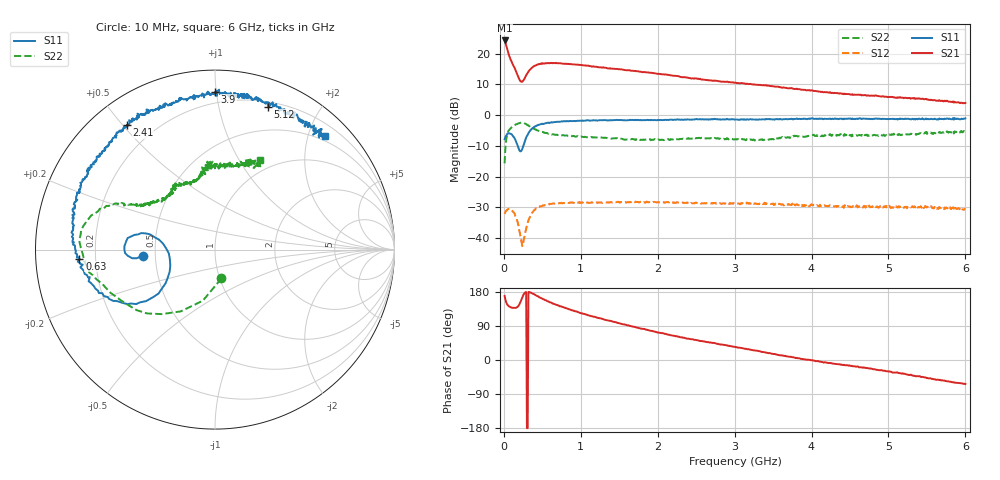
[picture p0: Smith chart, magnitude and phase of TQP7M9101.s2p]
! TriQuint Semiconductor
! TQP7M9101 Power Amplifier
! SOT-89 Package
! The data is for the unmatched device in a 50 Ohm system, 2-port file de-embedded to the device leads.
! Device bias: +5V V @ 85 mA Icq
! Temperature: 25C
! Date: 05/12/2011
! Lot Code: I321
!  Port 1 corresponds to Pin 1 on the TQP7M9101 (RF input)
!  Port 2 corresponds to Pin 3 on the TQP7M9101 (RF output)
! All data in ma (Magnitude/Angle) format
! freq-unit  param-type  data-format  keyword  impedance-ohms
# GHZ  S  MA  R  50
!Freq  S11Mag  S11Ang  S21Mag  S21Ang  S12Mag  S12Ang  S22Mag  S22Ang
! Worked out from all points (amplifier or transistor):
!   600 points, 10 MHz to 6 GHz, reference 50 ohm
!   highest |S21| = 24.3 dB at 10 MHz (marker M1)
!   |S21| within 3 dB of that: start of sweep to 45.3 MHz
!   unconditionally stable (mu >= 1): start of sweep to 1.089 GHz; 1.781 GHz to 2.5 GHz; 2.746 GHz to end of sweep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
!   at 1.01 GHz: K = 1.05, MAG = 21.0 dB, |S12| = -28.5 dB
!   at 3.01 GHz: K = 1.15, MAG = 17.3 dB, |S12| = -28.7 dB
!   at 6 GHz: K = 1.48, MAG = 13.0 dB, |S12| = -30.3 dB
!   S11 on the Smith chart (normalised r, x): 10 MHz: 0.42, -0.03; 630 MHz: 0.14, -0.03; 2.41 GHz: 0.10, +0.51; 3.9 GHz: 0.13, +0.99; 5.12 GHz: 0.25, +1.41; 6 GHz: 0.40, +2.30
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0.01  0.405 -175.2  16.36 169.0  0.0248 4.5  0.1648 -77.4
0.05  0.5007 -177.7  11.05 144.9  0.0293 -1.3  0.5198 -136.8
0.08  0.5008 176.3  8.473 140.3  0.0298 -7.7  0.595 -151.6
0.12  0.4567 169.7  6.556 137.5  0.0267 -18.9  0.6522 -162.3
0.18  0.3165 169.9  4.445 140.4  0.0181 -32.1  0.7266 -173.9
0.22  0.2574 -167.6  3.521 154.8  0.0101 -20.4  0.7518 178.0
0.26  0.3342 -145.6  3.761 173.9  0.0096 31.1  0.7463 170.0
0.32  0.5106 -144.9  5.091 179.5  0.0195 42.7  0.681 160.5
0.38  0.6227 -152.7  6.094 174.5  0.0269 34.8  0.6121 155.2
0.45  0.6906 -160.6  6.687 167.4  0.0321 26.1  0.5566 153.1
0.63  0.7569 -176.2  6.954 149.2  0.0362 11.0  0.4875 150.0
0.85  0.7973 173.7  6.732 133.7  0.0374 0.9  0.4664 147.1
1.01  0.8071 167.3  6.477 123.2  0.0374 -4.6  0.449 144.8
1.5  0.8311 152.6  5.59 96.8  0.0379 -19.7  0.4161 139.3
2.01  0.8271 137.6  4.681 72.7  0.0382 -30.8  0.4024 128.3
2.41  0.8491 125.4  4.002 55.7  0.038 -40.9  0.412 123.4
3.01  0.8487 113.3  3.374 34.3  0.0367 -50.2  0.4032 116.4
3.9  0.8785 89.9  2.577 1.9  0.0346 -72.0  0.4406 96.4
4.01  0.8913 88.6  2.536 -0.7  0.0346 -70.2  0.4736 94.8
5.01  0.8664 70.7  1.974 -30.5  0.0335 -87.7  0.485 82.2
5.12  0.8481 69.5  1.91 -33.0  0.0315 -89.9  0.4844 79.5
6  0.884 46.0  1.577 -63.3  0.0306 -108.8  0.5598 63.2
